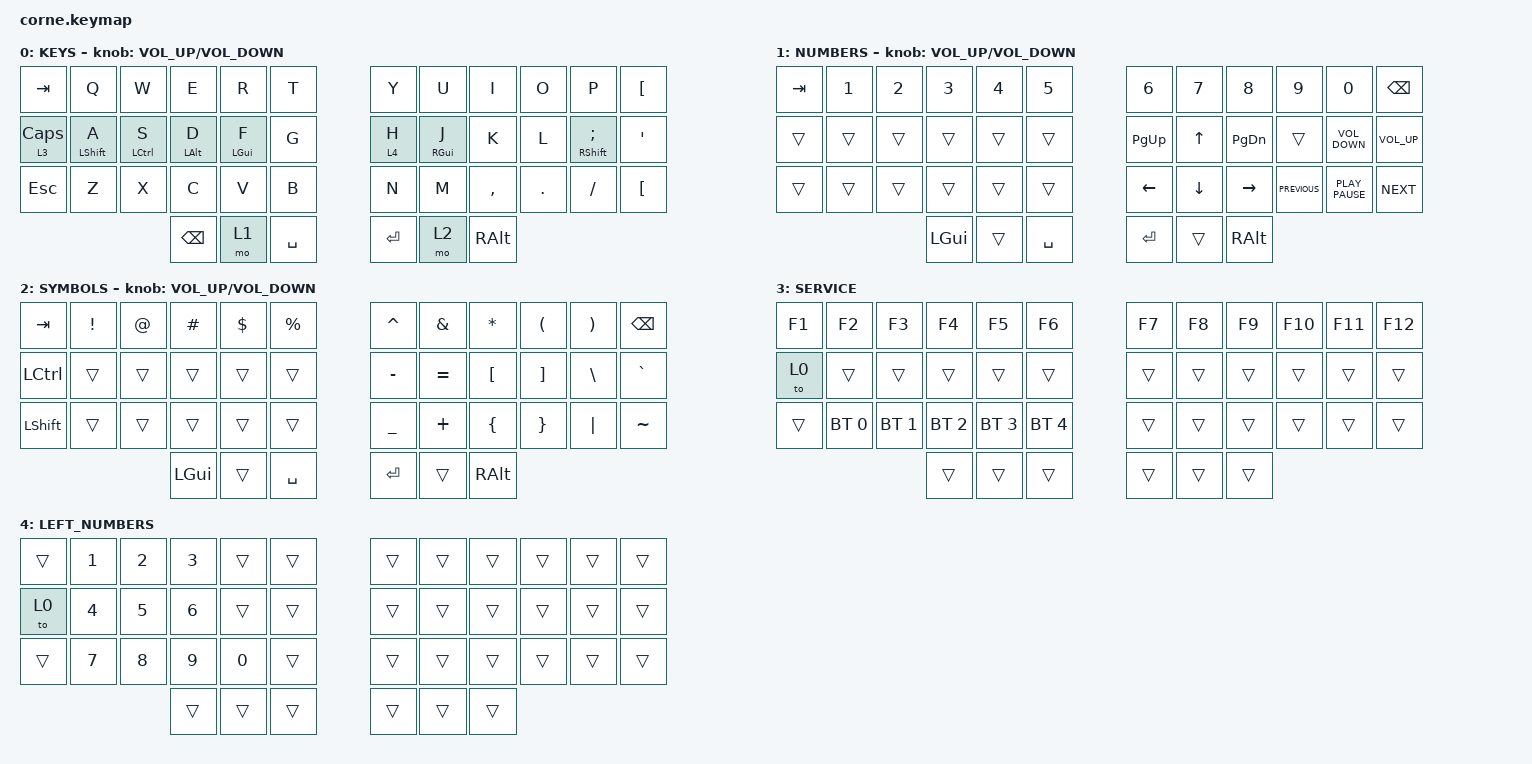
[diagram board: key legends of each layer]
/*
 * Copyright (c) 2020 The ZMK Contributors
 *
 * SPDX-License-Identifier: MIT
 */

#include <behaviors.dtsi>
#include <dt-bindings/zmk/bt.h>
#include <dt-bindings/zmk/keys.h>

/ {
    behaviors {
        HomeRowShiftLeft: HomeRowShiftLeft {
            compatible = "zmk,behavior-hold-tap";
            label = "HOMEROWSHIFTLEFT";
            bindings = <&kp>, <&kp>;

            #binding-cells = <2>;
            tapping-term-ms = <150>;
            hold-while-undecided;
            hold-trigger-on-release;
            hold-trigger-key-positions = <6 7 8 9 10 11 18 19 20 21 22 23 30 31 32 33 34 35 39 40 41>;
        };

        HomeRowShiftRight: HomeRowShiftRight {
            compatible = "zmk,behavior-hold-tap";
            label = "HOMEROWSHIFTRIGHT";
            bindings = <&kp>, <&kp>;

            #binding-cells = <2>;
            tapping-term-ms = <150>;
            hold-while-undecided;
            hold-trigger-on-release;
            hold-trigger-key-positions = <0 1 2 3 4 5 12 13 14 15 16 17 24 25 26 27 28 29 36 37 38>;
        };

        HomeRowLeft: HomeRowLeft {
            compatible = "zmk,behavior-hold-tap";
            label = "HOMEROWLEFT";
            bindings = <&kp>, <&kp>;

            #binding-cells = <2>;
            tapping-term-ms = <150>;
            hold-while-undecided;
            hold-trigger-on-release;
            hold-trigger-key-positions = <6 7 8 9 10 11 18 19 20 21 22 23 30 31 32 33 34 35 39 40 41>;
            flavor = "tap-preferred";
        };

        HomeRowRight: HomeRowRight {
            compatible = "zmk,behavior-hold-tap";
            label = "HOMEROWRIGHT";
            bindings = <&kp>, <&kp>;

            #binding-cells = <2>;
            tapping-term-ms = <150>;
            hold-while-undecided;
            hold-trigger-on-release;
            hold-trigger-key-positions = <0 1 2 3 4 5 12 13 14 15 16 17 24 25 26 27 28 29 36 37 38>;
            flavor = "tap-preferred";
        };

        HoldTap: HoldTap {
            compatible = "zmk,behavior-hold-tap";
            label = "HOLDTAP";
            bindings = <&to>, <&kp>;

            #binding-cells = <2>;
            tapping-term-ms = <200>;
            flavor = "tap-preferred";
        };
    };

    keymap {
        compatible = "zmk,keymap";

        KEYS {
            // -----------------------------------------------------------------------------------------
            // |  TAB |  Q  |  W  |  E  |  R  |  T  |   |  Y  |  U   |  I  |  O  |  P  | BKSP |
            // | CTRL |  A  |  S  |  D  |  F  |  G  |   |  H  |  J   |  K  |  L  |  ;  |  '   |
            // | SHFT |  Z  |  X  |  C  |  V  |  B  |   |  N  |  M   |  ,  |  .  |  /  | ESC  |
            //                    | GUI | LWR | SPC |   | ENT | RSE  | ALT |

            bindings = <
&kp TAB              &kp Q                           &kp W                 &kp E                    &kp R                    &kp T        &kp Y         &kp U                      &kp I      &kp O    &kp P                                     &kp LEFT_BRACKET
&HoldTap 3 CAPSLOCK  &HomeRowShiftLeft LEFT_SHIFT A  &HomeRowLeft LCTRL S  &HomeRowLeft LEFT_ALT D  &HomeRowLeft LEFT_GUI F  &kp G        &HoldTap 4 H  &HomeRowRight RIGHT_GUI J  &kp K      &kp L    &HomeRowShiftRight RIGHT_SHIFT SEMICOLON  &kp SQT
&kp ESC              &kp Z                           &kp X                 &kp C                    &kp V                    &kp B        &kp N         &kp M                      &kp COMMA  &kp DOT  &kp FSLH                                  &kp LEFT_BRACKET
                                                                           &kp BACKSPACE            &mo 1                    &kp SPACE    &kp RET       &mo 2                      &kp RALT
            >;

            /* Encoder: volume on default layer */

            sensor-bindings = <&inc_dec_kp C_VOLUME_UP C_VOLUME_DOWN>;
        };

        NUMBERS {
            // -----------------------------------------------------------------------------------------
            // |  TAB |  1  |  2  |  3  |  4  |  5  |   |  6  |  7  |  8  |  9  |  0  | BKSP |
            // | BTCLR| BT1 | BT2 | BT3 | BT4 | BT5 |   | LFT | DWN |  UP | RGT |     |      |
            // | SHFT |     |     |     |     |     |   |     |     |     |     |     |      |
            //                    | GUI |     | SPC |   | ENT |     | ALT |

            bindings = <
&kp TAB  &kp N1  &kp N2  &kp N3    &kp N4  &kp N5       &kp N6          &kp N7          &kp N8           &kp N9          &kp N0             &kp BSPC
&trans   &trans  &trans  &trans    &trans  &trans       &kp PAGE_UP     &kp UP_ARROW    &kp PAGE_DOWN    &trans          &kp C_VOLUME_DOWN  &kp C_VOLUME_UP
&trans   &trans  &trans  &trans    &trans  &trans       &kp LEFT_ARROW  &kp DOWN_ARROW  &kp RIGHT_ARROW  &kp K_PREVIOUS  &kp K_PLAY_PAUSE   &kp K_NEXT
                         &kp LGUI  &trans  &kp SPACE    &kp RET         &trans          &kp RALT
            >;

            /* Encoder: volume on lower layer */

            sensor-bindings = <&inc_dec_kp C_VOLUME_UP C_VOLUME_DOWN>;
        };

        SYMBOLS {
            // -----------------------------------------------------------------------------------------
            // |  TAB |  !  |  @  |  #  |  $  |  %  |   |  ^  |  &  |  *  |  (  |  )  | BKSP |
            // | CTRL |     |     |     |     |     |   |  -  |  =  |  [  |  ]  |  \  |  `   |
            // | SHFT |     |     |     |     |     |   |  _  |  +  |  {  |  }  | "|" |  ~   |
            //                    | GUI |     | SPC |   | ENT |     | ALT |

            bindings = <
&kp TAB    &kp EXCL  &kp AT  &kp HASH  &kp DLLR  &kp PRCNT    &kp CARET  &kp AMPS   &kp ASTRK  &kp LPAR  &kp RPAR  &kp BSPC
&kp LCTRL  &trans    &trans  &trans    &trans    &trans       &kp MINUS  &kp EQUAL  &kp LBKT   &kp RBKT  &kp BSLH  &kp GRAVE
&kp LSHFT  &trans    &trans  &trans    &trans    &trans       &kp UNDER  &kp PLUS   &kp LBRC   &kp RBRC  &kp PIPE  &kp TILDE
                             &kp LGUI  &trans    &kp SPACE    &kp RET    &trans     &kp RALT
            >;

            /* Encoder: volume on raise layer */

            sensor-bindings = <&inc_dec_kp C_VOLUME_UP C_VOLUME_DOWN>;
        };

        SERVICE {
            bindings = <
&kp F1  &kp F2        &kp F3        &kp F4        &kp F5        &kp F6          &kp F7  &kp F8  &kp F9  &kp F10  &kp F11  &kp F12
&to 0   &trans        &trans        &trans        &trans        &trans          &trans  &trans  &trans  &trans   &trans   &trans
&trans  &bt BT_SEL 0  &bt BT_SEL 1  &bt BT_SEL 2  &bt BT_SEL 3  &bt BT_SEL 4    &trans  &trans  &trans  &trans   &trans   &trans
                                    &trans        &trans        &trans          &trans  &trans  &trans
            >;
        };

        LEFT_NUMBERS {
            bindings = <
&trans  &kp NUMBER_1  &kp NUMBER_2  &kp NUMBER_3  &trans        &trans    &trans  &trans  &trans  &trans  &trans  &trans
&to 0   &kp NUMBER_4  &kp NUMBER_5  &kp NUMBER_6  &trans        &trans    &trans  &trans  &trans  &trans  &trans  &trans
&trans  &kp NUMBER_7  &kp NUMBER_8  &kp NUMBER_9  &kp NUMBER_0  &trans    &trans  &trans  &trans  &trans  &trans  &trans
                                    &trans        &trans        &trans    &trans  &trans  &trans
            >;
        };
    };
};
